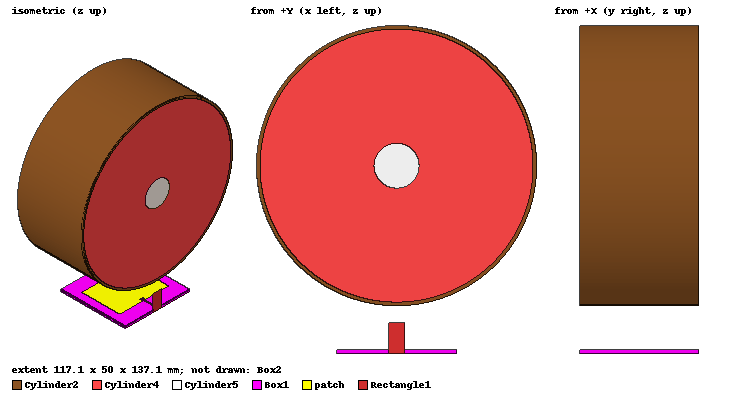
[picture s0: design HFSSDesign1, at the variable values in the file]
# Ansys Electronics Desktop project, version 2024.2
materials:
  vacuum: permittivity=1
  FR4_epoxy: permittivity=4.4 dielectric_loss_tangent=0.02
  bone(cortical): permittivity=11.4 conductivity=0.788 dielectric_loss_tangent=0.51770401
  msucle: permittivity=52.8 conductivity=1.71 dielectric_loss_tangent=0.24256177
  skin: permittivity=38.1 conductivity=1.44 dielectric_loss_tangent=0.2830725

design HFSSDesign1 (HFSS, HFSS Modal Network, model units mm)
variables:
  w = 50mm
  l = 50mm
  patchlength = 29.443143mm
  patchwidth = 38.036289mm
  h = 1.6mm
  slotlength = 2.5mm
  slotwidth = 2mm
  linewidth = 0.70918453mm
  armrad = 58.569019mm
  skinthick = 1.5mm
  bonerad = (18.84/2) mm
  d = 20mm
  w1 = (2*58.569019058) mm
  l1 = 100mm
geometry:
  GND = rectangle(corner=(-w/2, -l/2, 0mm), x_size=w, y_size=l)
  Box1 [FR4_epoxy] = box(corner=(-w/2, -l/2, 0mm), size=(l, w, h))
  patch = rectangle(corner=(-patchwidth/2, -patchlength/2, h), x_size=patchwidth, y_size=patchlength)
  slot = rectangle(corner=(-slotwidth/2, -slotlength+patchlength/2, h), x_size=slotwidth, y_size=slotlength)
  line = rectangle(corner=(-linewidth/2, 0mm, h), x_size=linewidth, y_size=l/2)
  patch.subtract(slot)
  patch.unite(line)
  Rectangle1 = rectangle(corner=(-linewidth*5, l/2, 0mm), z_size=8*h, x_size=linewidth*10)
  Box2 [vacuum] = box(corner=(-w1/2, -l/2, 0mm), size=(w1, l, 150*h))
  Cylinder2 [skin] = cylinder(axis=Z, base_centre=(0mm, 0mm, 0mm), radius=armrad, height=l)
  Cylinder3 = cylinder(axis=Z, base_centre=(0mm, 0mm, 0mm), radius=armrad-skinthick, height=100mm)
  Cylinder2.subtract(Cylinder3)
  Cylinder4 [msucle] = cylinder(axis=Z, base_centre=(0mm, 0mm, 0mm), radius=armrad-skinthick, height=l)
  Cylinder1 = cylinder(axis=Z, base_centre=(0mm, 0mm, 0mm), radius=bonerad, height=100mm)
  Cylinder4.subtract(Cylinder1)
  Cylinder5 [bone(cortical)] = cylinder(axis=Z, base_centre=(0mm, 0mm, 0mm), radius=bonerad, height=l)
  [Cylinder2, Cylinder4, Cylinder5].rotate(axis=X, angle=90deg)
  [Cylinder2, Cylinder4, Cylinder5].move(0mm, l/2, d+armrad)
  group Limb_Model = Cylinder2, Cylinder4, Cylinder5
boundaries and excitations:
  Rad1: Radiation Objects=Box2
  PerfE1: Perfect E Objects=[patch, GND]
  1: Wave Port Objects=Rectangle1 WavePortType=Modal NumModes=1 Modes{Mode1{IntLine{(0, 25, 0) -> (0, 25, 12.8)} CharImp=Zpi}}
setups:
  Setup1: HfssDriven Frequency=2.4GHz MaxDeltaS=0.02 MaximumPasses=6 MinimumPasses=1 MinimumConvergedPasses=1 PercentRefinement=30 BasisOrder=1 PortAccuracy=2 DrivenSolverType="Direct Solver"
    sweep Sweep: 1.2GHz to 3.6GHz, 401 points; Type=Fast SaveFields
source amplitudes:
  1:1: 1W 0deg
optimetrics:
  ParametricSetup1: Parametric Sim._Setups=[Setup1]
    sweep slotlength: LIN 2mm 6mm 0.5mm
  Distance: Parametric Sim._Setups=[Setup1]
    sweep d: LIN 0mm 50mm 2mm
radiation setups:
  Infinite Sphere1: Infinite Sphere Theta=-90deg..90deg step 90deg Phi=-180deg..180deg step 2deg
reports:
  S Parameter Plot 1: dB(S(1,1)) vs Freq on Setup1 : Sweep; markers m1 at 2.244GHz, m2 at 2.358GHz
  S Parameter Plot 2: dB(S(1,1)) vs Freq on Setup1 : Sweep [slotlength=2mm,2.5mm,3mm,3.5mm,4mm,4.5mm,5mm,5.5mm,6mm,9.25mm slotwidth=all]; markers m1 at 2.28GHz
  S Parameter Plot 3: dB(S(1,1)) vs Freq on Setup1 : Sweep [slotlength=2mm,2.5mm,3mm,3.5mm,4mm,4.5mm,5mm,5.5mm,6mm,9.25mm slotwidth=2mm,3mm]
